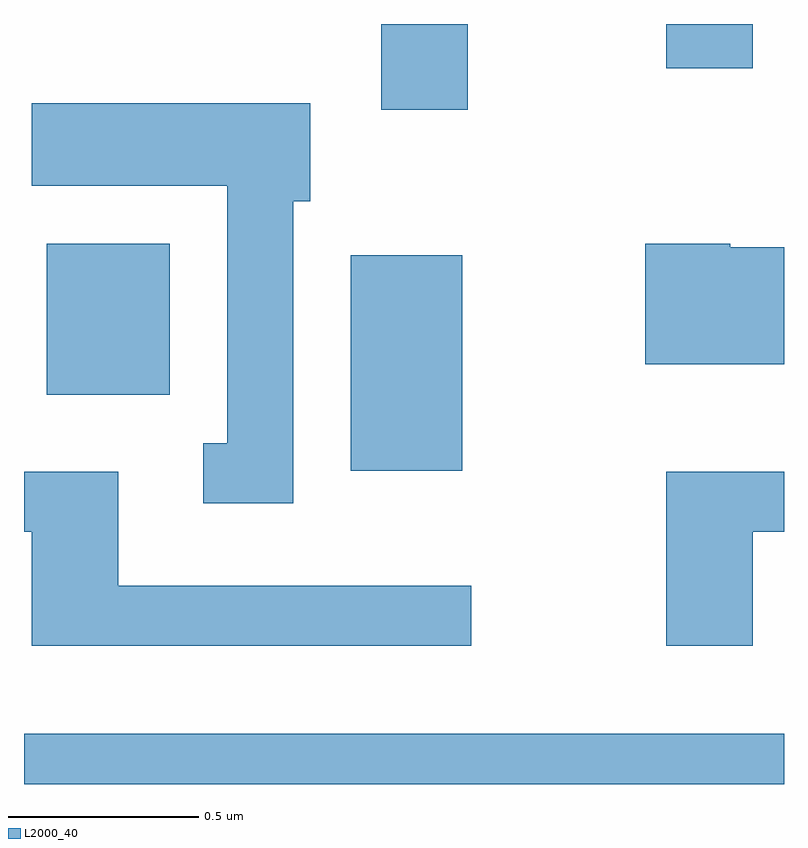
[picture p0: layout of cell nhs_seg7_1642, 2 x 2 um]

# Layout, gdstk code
import gdstk
lib = gdstk.Library(unit=1e-6, precision=1e-09)
def R(c, l, rs):  # rectangles x0, y0, x1, y1
    for r in rs: c.add(gdstk.rectangle(r[:2], r[2:], *l))
def P(c, l, *ps):  # polygons
    for p in ps: c.add(gdstk.Polygon(p, *l))
L2000_40 = (2000, 40)

nhs_seg7_1642 = lib.new_cell('nhs_seg7_1642')
R(nhs_seg7_1642, L2000_40, [(196.611,1803.252,198.611,1803.384), (197.471,1804.076,197.764,1804.644), (196.671,1804.276,196.994,1804.674), (197.551,1805.026,197.779,1805.252), (198.301,1805.136,198.529,1805.252)])
P(nhs_seg7_1642, L2000_40, [(197.319,1804.786),(197.364,1804.786),(197.364,1805.044),(196.631,1805.044),(196.631,1804.826),(197.146,1804.826),(197.146,1804.149),(197.083,1804.149),(197.083,1803.991),(197.319,1803.991)],
  [(198.611,1804.664),(198.47,1804.664),(198.47,1804.674),(198.246,1804.674),(198.246,1804.356),(198.611,1804.356)],
  [(198.529,1803.916),(198.611,1803.916),(198.611,1804.074),(198.301,1804.074),(198.301,1803.616),(198.529,1803.616)],
  [(197.788,1803.774),(196.859,1803.774),(196.859,1804.074),(196.611,1804.074),(196.611,1803.916),(196.631,1803.916),(196.631,1803.616),(197.788,1803.616)])

lib.write_gds('nhs_seg7_1642.gds')
